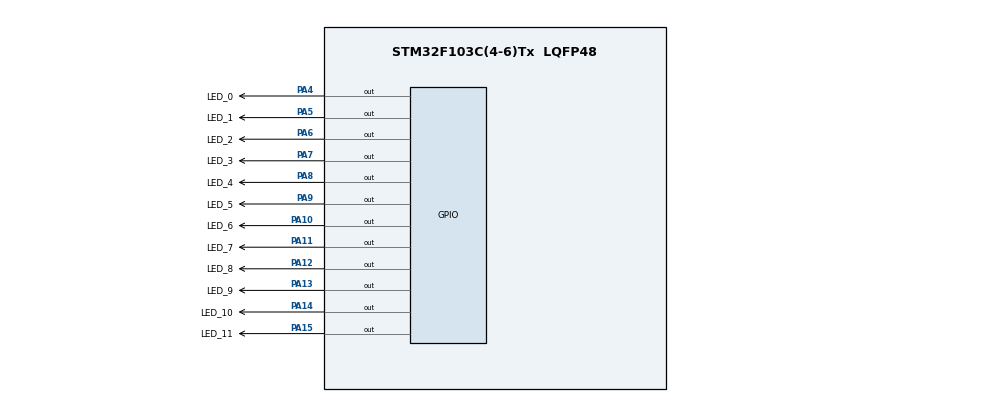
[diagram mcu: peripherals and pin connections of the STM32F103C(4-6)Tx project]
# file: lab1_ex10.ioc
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Mcu.Family=STM32F1
Mcu.Name=STM32F103C(4-6)Tx
Mcu.Package=LQFP48
NVIC.PriorityGroup=NVIC_PRIORITYGROUP_4
PA10.GPIO_Label=LED_6
PA10.Signal=GPIO_Output
PA11.GPIO_Label=LED_7
PA11.Signal=GPIO_Output
PA12.GPIO_Label=LED_8
PA12.Signal=GPIO_Output
PA13.GPIO_Label=LED_9
PA13.Signal=GPIO_Output
PA14.GPIO_Label=LED_10
PA14.Signal=GPIO_Output
PA15.GPIO_Label=LED_11
PA15.Signal=GPIO_Output
PA4.GPIO_Label=LED_0
PA4.Signal=GPIO_Output
PA5.GPIO_Label=LED_1
PA5.Signal=GPIO_Output
PA6.GPIO_Label=LED_2
PA6.Signal=GPIO_Output
PA7.GPIO_Label=LED_3
PA7.Signal=GPIO_Output
PA8.GPIO_Label=LED_4
PA8.Signal=GPIO_Output
PA9.GPIO_Label=LED_5
PA9.Signal=GPIO_Output
ProjectManager.HeapSize=0x200
ProjectManager.StackSize=0x400
ProjectManager.TargetToolchain=STM32CubeIDE
RCC.APB1Freq_Value=8000000
RCC.APB2Freq_Value=8000000
VP_SYS_VS_ND.Mode=No_Debug
board=custom

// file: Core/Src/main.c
/* USER CODE BEGIN Header */
/**
  ******************************************************************************
  * @file           : main.c
  * @brief          : Main program body
  ******************************************************************************
  * @attention
  *
  * <h2><center>&copy; Copyright (c) 2023 STMicroelectronics.
  * All rights reserved.</center></h2>
  *
  * This software component is licensed by ST under BSD 3-Clause license,
  * the "License"; You may not use this file except in compliance with the
  * License. You may obtain a copy of the License at:
  *                        opensource.org/licenses/BSD-3-Clause
  *
  ******************************************************************************
  */
/* USER CODE END Header */
#include "main.h"

void SystemClock_Config(void);
static void MX_GPIO_Init(void);

/* USER CODE BEGIN 0 */
void clearAllClock()
{
	HAL_GPIO_WritePin(LED_0_GPIO_Port, LED_0_Pin, SET);
	HAL_GPIO_WritePin(LED_1_GPIO_Port, LED_1_Pin, SET);
	HAL_GPIO_WritePin(LED_2_GPIO_Port, LED_2_Pin, SET);
	HAL_GPIO_WritePin(LED_3_GPIO_Port, LED_3_Pin, SET);
	HAL_GPIO_WritePin(LED_4_GPIO_Port, LED_4_Pin, SET);
	HAL_GPIO_WritePin(LED_5_GPIO_Port, LED_5_Pin, SET);
	HAL_GPIO_WritePin(LED_6_GPIO_Port, LED_6_Pin, SET);
	HAL_GPIO_WritePin(LED_7_GPIO_Port, LED_7_Pin, SET);
	HAL_GPIO_WritePin(LED_8_GPIO_Port, LED_8_Pin, SET);
	HAL_GPIO_WritePin(LED_9_GPIO_Port, LED_9_Pin, SET);
	HAL_GPIO_WritePin(LED_10_GPIO_Port, LED_10_Pin, SET);
	HAL_GPIO_WritePin(LED_11_GPIO_Port, LED_11_Pin, SET);
}
void setNumberOnClock(int num)
{
	switch (num)
	{
	case 0:
		HAL_GPIO_WritePin(LED_0_GPIO_Port, LED_0_Pin, RESET);
		break;
	case 1:
		HAL_GPIO_WritePin(LED_1_GPIO_Port, LED_1_Pin, RESET);
		break;
	case 2:
		HAL_GPIO_WritePin(LED_2_GPIO_Port, LED_2_Pin, RESET);
		break;
	case 3:
		HAL_GPIO_WritePin(LED_3_GPIO_Port, LED_3_Pin, RESET);
		break;
	case 4:
		HAL_GPIO_WritePin(LED_4_GPIO_Port, LED_4_Pin, RESET);
		break;
	case 5:
		HAL_GPIO_WritePin(LED_5_GPIO_Port, LED_5_Pin, RESET);
		break;
	case 6:
		HAL_GPIO_WritePin(LED_6_GPIO_Port, LED_6_Pin, RESET);
		break;
	case 7:
		HAL_GPIO_WritePin(LED_7_GPIO_Port, LED_7_Pin, RESET);
		break;
	case 8:
		HAL_GPIO_WritePin(LED_8_GPIO_Port, LED_8_Pin, RESET);
		break;
	case 9:
		HAL_GPIO_WritePin(LED_9_GPIO_Port, LED_9_Pin, RESET);
		break;
	case 10:
		HAL_GPIO_WritePin(LED_10_GPIO_Port, LED_10_Pin, RESET);
		break;
	case 11:
		HAL_GPIO_WritePin(LED_11_GPIO_Port, LED_11_Pin, RESET);
		break;
	}
}
void clearNumberOnClock(int num)
{
	switch (num)
	{
	case 0:
		HAL_GPIO_WritePin(LED_0_GPIO_Port, LED_0_Pin, SET);
		break;
	case 1:
		HAL_GPIO_WritePin(LED_1_GPIO_Port, LED_1_Pin, SET);
		break;
	case 2:
		HAL_GPIO_WritePin(LED_2_GPIO_Port, LED_2_Pin, SET);
		break;
	case 3:
		HAL_GPIO_WritePin(LED_3_GPIO_Port, LED_3_Pin, SET);
		break;
	case 4:
		HAL_GPIO_WritePin(LED_4_GPIO_Port, LED_4_Pin, SET);
		break;
	case 5:
		HAL_GPIO_WritePin(LED_5_GPIO_Port, LED_5_Pin, SET);
		break;
	case 6:
		HAL_GPIO_WritePin(LED_6_GPIO_Port, LED_6_Pin, SET);
		break;
	case 7:
		HAL_GPIO_WritePin(LED_7_GPIO_Port, LED_7_Pin, SET);
		break;
	case 8:
		HAL_GPIO_WritePin(LED_8_GPIO_Port, LED_8_Pin, SET);
		break;
	case 9:
		HAL_GPIO_WritePin(LED_9_GPIO_Port, LED_9_Pin, SET);
		break;
	case 10:
		HAL_GPIO_WritePin(LED_10_GPIO_Port, LED_10_Pin, SET);
		break;
	case 11:
		HAL_GPIO_WritePin(LED_11_GPIO_Port, LED_11_Pin, SET);
		break;
	}
}

/* USER CODE END 0 */

int main(void)
{

  /* MCU Configuration--------------------------------------------------------*/

  /* Reset of all peripherals, Initializes the Flash interface and the Systick. */
  HAL_Init();

  /* Configure the system clock */
  SystemClock_Config();

  /* Initialize all configured peripherals */
  MX_GPIO_Init();

  /* Infinite loop */
  /* USER CODE BEGIN WHILE */
  int sec = 0, min = 0, hour = 0;
  clearAllClock();
  while (1)
  {
	  if (sec == 60)
	  {
		  sec = 0;
		  min++;
	  }
	  if (min == 60)
	  {
		  min = 0;
		  hour++;
	  }
	  if (hour == 24)
	  {
		  hour = 0;
	  }
	  clearAllClock();
	  setNumberOnClock(sec/5);
	  setNumberOnClock(min/5);
	  setNumberOnClock(hour);
	  sec++;
    /* USER CODE END WHILE */
	  HAL_Delay(10);
  }
}

void SystemClock_Config(void)
{
  RCC_OscInitTypeDef RCC_OscInitStruct = {0};
  RCC_ClkInitTypeDef RCC_ClkInitStruct = {0};

  /** Initializes the RCC Oscillators according to the specified parameters
  * in the RCC_OscInitTypeDef structure.
  */
  RCC_OscInitStruct.OscillatorType = RCC_OSCILLATORTYPE_HSI;
  RCC_OscInitStruct.HSIState = RCC_HSI_ON;
  RCC_OscInitStruct.HSICalibrationValue = RCC_HSICALIBRATION_DEFAULT;
  RCC_OscInitStruct.PLL.PLLState = RCC_PLL_NONE;
  if (HAL_RCC_OscConfig(&RCC_OscInitStruct) != HAL_OK)
  {
    Error_Handler();
  }
  /** Initializes the CPU, AHB and APB buses clocks
  */
  RCC_ClkInitStruct.ClockType = RCC_CLOCKTYPE_HCLK|RCC_CLOCKTYPE_SYSCLK
                              |RCC_CLOCKTYPE_PCLK1|RCC_CLOCKTYPE_PCLK2;
  RCC_ClkInitStruct.SYSCLKSource = RCC_SYSCLKSOURCE_HSI;
  RCC_ClkInitStruct.AHBCLKDivider = RCC_SYSCLK_DIV1;
  RCC_ClkInitStruct.APB1CLKDivider = RCC_HCLK_DIV1;
  RCC_ClkInitStruct.APB2CLKDivider = RCC_HCLK_DIV1;

  if (HAL_RCC_ClockConfig(&RCC_ClkInitStruct, FLASH_LATENCY_0) != HAL_OK)
  {
    Error_Handler();
  }
}

static void MX_GPIO_Init(void)
{
  GPIO_InitTypeDef GPIO_InitStruct = {0};

  /* GPIO Ports Clock Enable */
  __HAL_RCC_GPIOA_CLK_ENABLE();

  /*Configure GPIO pin Output Level */
  HAL_GPIO_WritePin(GPIOA, LED_0_Pin|LED_1_Pin|LED_2_Pin|LED_3_Pin
                          |LED_4_Pin|LED_5_Pin|LED_6_Pin|LED_7_Pin
                          |LED_8_Pin|LED_9_Pin|LED_10_Pin|LED_11_Pin, GPIO_PIN_RESET);

  /*Configure GPIO pins : LED_0_Pin LED_1_Pin LED_2_Pin LED_3_Pin
                           LED_4_Pin LED_5_Pin LED_6_Pin LED_7_Pin
                           LED_8_Pin LED_9_Pin LED_10_Pin LED_11_Pin */
  GPIO_InitStruct.Pin = LED_0_Pin|LED_1_Pin|LED_2_Pin|LED_3_Pin
                          |LED_4_Pin|LED_5_Pin|LED_6_Pin|LED_7_Pin
                          |LED_8_Pin|LED_9_Pin|LED_10_Pin|LED_11_Pin;
  GPIO_InitStruct.Mode = GPIO_MODE_OUTPUT_PP;
  GPIO_InitStruct.Pull = GPIO_NOPULL;
  GPIO_InitStruct.Speed = GPIO_SPEED_FREQ_LOW;
  HAL_GPIO_Init(GPIOA, &GPIO_InitStruct);

}

void Error_Handler(void)
{
  __disable_irq();
  while (1)
  {
  }
}

/************************ (C) COPYRIGHT STMicroelectronics *****END OF FILE****/
